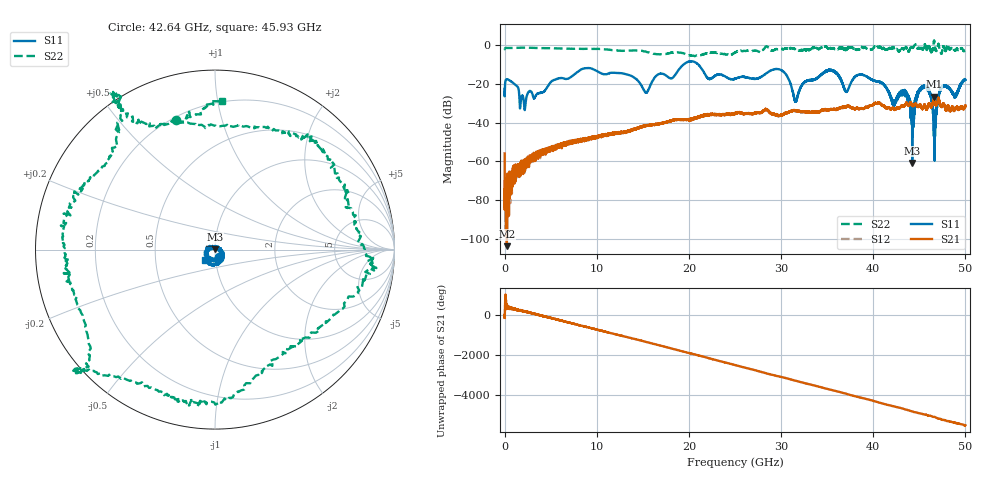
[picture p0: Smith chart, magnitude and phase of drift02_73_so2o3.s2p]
!Created with skrf (http://scikit-rf.org).
# Hz S RI R 50.0
!freq ReS11 ImS11 ReS21 ImS21 ReS12 ImS12 ReS22 ImS22
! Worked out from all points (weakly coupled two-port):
!   10001 points, 300 kHz to 50 GHz, reference 50 ohm
!   highest |S21| = -26.56 dB at 46.61 GHz (marker M1); lowest = -103.9 dB at 245.3 MHz (marker M2)
!   lowest |S11| = -60.9 dB at 44.23 GHz (marker M3), VSWR 1.00, Z = 50 + j0.0858 ohm
!   |S11| at or under -10 dB: start of sweep to 19.42 GHz; 21.01 GHz to end of sweep
!   |S22| runs from -5.7 to 2.4 dB; largest |S21 - S12| = 0.0035
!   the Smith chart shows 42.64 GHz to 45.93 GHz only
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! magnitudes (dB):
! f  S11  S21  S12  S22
! 300 kHz  -22.6  -55.9  -69.7  -2.1
! 245.3 MHz  -17.6  -103.9  -68.9  -1.4
! 2.185 GHz  -33.6  -63.3  -63.7  -1.3
! 8.335 GHz  -12.5  -49.2  -48.8  -1.9
! 15.34 GHz  -24.5  -41.3  -41.5  -3.3
! 16.67 GHz  -15.1  -41.0  -40.7  -4.7
! 20.29 GHz  -8.4  -38.3  -38.4  -5.5
! 25 GHz  -17.4  -35.5  -35.4  -3.9
! 29.85 GHz  -12.6  -36.3  -36.5  -2.0
! 31.6 GHz  -29.0  -33.8  -33.9  -2.5
! 33.34 GHz  -18.1  -34.5  -34.4  -1.6
! 35.59 GHz  -13.5  -33.3  -33.3  -1.6
! 37.1 GHz  -24.2  -31.9  -31.6  -2.4
! 38.77 GHz  -15.3  -32.6  -32.7  -1.0
! 41.67 GHz  -24.0  -32.1  -32.3  -1.9
! 43.43 GHz  -23.7  -31.1  -31.1  -1.9
! 44.23 GHz  -60.9  -31.0  -30.9  -1.4
! 45.58 GHz  -21.4  -30.8  -30.6  0.3
! 46.61 GHz  -43.4  -26.6  -26.9  2.4
! 47.47 GHz  -21.8  -31.4  -31.6  -3.3
! 48.89 GHz  -26.0  -32.4  -33.3  -2.8
! 50 GHz  -18.0  -31.1  -31.4  -2.7
